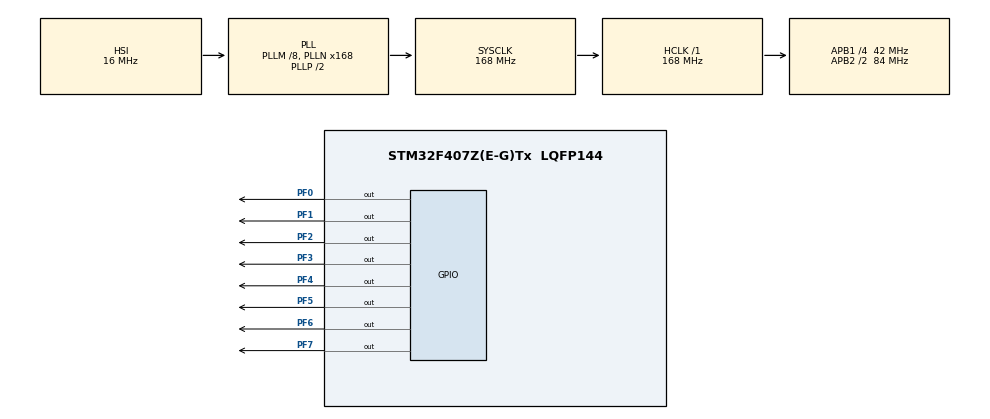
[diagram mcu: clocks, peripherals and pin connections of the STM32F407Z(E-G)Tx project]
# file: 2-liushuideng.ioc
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Mcu.Family=STM32F4
Mcu.Name=STM32F407Z(E-G)Tx
Mcu.Package=LQFP144
NVIC.PriorityGroup=NVIC_PRIORITYGROUP_4
PA13.Mode=Serial_Wire
PA13.Signal=SYS_JTMS-SWDIO
PA14.Mode=Serial_Wire
PA14.Signal=SYS_JTCK-SWCLK
PC14-OSC32_IN.Mode=LSE-External-Oscillator
PC14-OSC32_IN.Signal=RCC_OSC32_IN
PC15-OSC32_OUT.Mode=LSE-External-Oscillator
PC15-OSC32_OUT.Signal=RCC_OSC32_OUT
PF0.GPIO_ModeDefaultOutputPP=GPIO_MODE_OUTPUT_PP
PF0.GPIO_PuPd=GPIO_NOPULL
PF0.GPIO_Speed=GPIO_SPEED_FREQ_LOW
PF0.PinState=GPIO_PIN_SET
PF0.Signal=GPIO_Output
PF1.GPIO_ModeDefaultOutputPP=GPIO_MODE_OUTPUT_PP
PF1.GPIO_PuPd=GPIO_NOPULL
PF1.GPIO_Speed=GPIO_SPEED_FREQ_LOW
PF1.PinState=GPIO_PIN_SET
PF1.Signal=GPIO_Output
PF2.GPIO_ModeDefaultOutputPP=GPIO_MODE_OUTPUT_PP
PF2.GPIO_PuPd=GPIO_NOPULL
PF2.GPIO_Speed=GPIO_SPEED_FREQ_LOW
PF2.PinState=GPIO_PIN_SET
PF2.Signal=GPIO_Output
PF3.GPIO_ModeDefaultOutputPP=GPIO_MODE_OUTPUT_PP
PF3.GPIO_PuPd=GPIO_NOPULL
PF3.GPIO_Speed=GPIO_SPEED_FREQ_LOW
PF3.PinState=GPIO_PIN_SET
PF3.Signal=GPIO_Output
PF4.GPIO_ModeDefaultOutputPP=GPIO_MODE_OUTPUT_PP
PF4.GPIO_PuPd=GPIO_NOPULL
PF4.GPIO_Speed=GPIO_SPEED_FREQ_LOW
PF4.PinState=GPIO_PIN_SET
PF4.Signal=GPIO_Output
PF5.GPIO_ModeDefaultOutputPP=GPIO_MODE_OUTPUT_PP
PF5.GPIO_PuPd=GPIO_NOPULL
PF5.GPIO_Speed=GPIO_SPEED_FREQ_LOW
PF5.PinState=GPIO_PIN_SET
PF5.Signal=GPIO_Output
PF6.GPIO_ModeDefaultOutputPP=GPIO_MODE_OUTPUT_PP
PF6.GPIO_PuPd=GPIO_NOPULL
PF6.GPIO_Speed=GPIO_SPEED_FREQ_LOW
PF6.PinState=GPIO_PIN_SET
PF6.Signal=GPIO_Output
PF7.GPIO_ModeDefaultOutputPP=GPIO_MODE_OUTPUT_PP
PF7.GPIO_PuPd=GPIO_NOPULL
PF7.GPIO_Speed=GPIO_SPEED_FREQ_LOW
PF7.PinState=GPIO_PIN_SET
PF7.Signal=GPIO_Output
PH0-OSC_IN.Mode=HSE-External-Oscillator
PH0-OSC_IN.Signal=RCC_OSC_IN
PH1-OSC_OUT.Mode=HSE-External-Oscillator
PH1-OSC_OUT.Signal=RCC_OSC_OUT
ProjectManager.HeapSize=0x200
ProjectManager.StackSize=0x400
ProjectManager.TargetToolchain=MDK-ARM V5.32
RCC.48MHZClocksFreq_Value=84000000
RCC.AHBFreq_Value=168000000
RCC.APB1CLKDivider=RCC_HCLK_DIV4
RCC.APB1Freq_Value=42000000
RCC.APB1TimFreq_Value=84000000
RCC.APB2CLKDivider=RCC_HCLK_DIV2
RCC.APB2Freq_Value=84000000
RCC.APB2TimFreq_Value=168000000
RCC.CortexFreq_Value=168000000
RCC.HCLKFreq_Value=168000000
RCC.HSE_VALUE=8000000
RCC.HSI_VALUE=16000000
RCC.PLLM=8
RCC.PLLN=168
RCC.SYSCLKFreq_VALUE=168000000
RCC.SYSCLKSource=RCC_SYSCLKSOURCE_PLLCLK
RCC.VCOOutputFreq_Value=336000000
board=custom

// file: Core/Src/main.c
/* USER CODE BEGIN Header */
/**
  ******************************************************************************
  * @file           : main.c
  * @brief          : Main program body
  ******************************************************************************
  * @attention
  *
  * Copyright (c) 2026 STMicroelectronics.
  * All rights reserved.
  *
  * This software is licensed under terms that can be found in the LICENSE file
  * in the root directory of this software component.
  * If no LICENSE file comes with this software, it is provided AS-IS.
  *
  ******************************************************************************
  */
/* USER CODE END Header */
#include "main.h"
#include "gpio.h"

void SystemClock_Config(void);

int main(void)
{

  /* MCU Configuration--------------------------------------------------------*/

  /* Reset of all peripherals, Initializes the Flash interface and the Systick. */
  HAL_Init();

  /* Configure the system clock */
  SystemClock_Config();

  /* Initialize all configured peripherals */
  MX_GPIO_Init();

  /* Infinite loop */
  /* USER CODE BEGIN WHILE */
  while (1)
  {

	  // F0亮，其余灭
    HAL_GPIO_WritePin(GPIOF,GPIO_PIN_0, GPIO_PIN_RESET);
    HAL_GPIO_WritePin(GPIOF, GPIO_PIN_1 | GPIO_PIN_2 | GPIO_PIN_3 | GPIO_PIN_4 | GPIO_PIN_5 | GPIO_PIN_6 | GPIO_PIN_7, GPIO_PIN_SET);
    HAL_Delay(500); //延时500ms

    // F1亮，其余灭
    HAL_GPIO_WritePin(GPIOF, GPIO_PIN_1, GPIO_PIN_RESET);
    HAL_GPIO_WritePin(GPIOF, GPIO_PIN_0 | GPIO_PIN_2 | GPIO_PIN_3 | GPIO_PIN_4 | GPIO_PIN_5 | GPIO_PIN_6 | GPIO_PIN_7, GPIO_PIN_SET);
    HAL_Delay(500);

    // F2亮，其余灭
    HAL_GPIO_WritePin(GPIOF, GPIO_PIN_2, GPIO_PIN_RESET);
    HAL_GPIO_WritePin(GPIOF, GPIO_PIN_0 | GPIO_PIN_1 | GPIO_PIN_3 | GPIO_PIN_4 | GPIO_PIN_5 | GPIO_PIN_6 | GPIO_PIN_7, GPIO_PIN_SET);
    HAL_Delay(500);

    // F3亮，其余灭
    HAL_GPIO_WritePin(GPIOF, GPIO_PIN_3, GPIO_PIN_RESET);
    HAL_GPIO_WritePin(GPIOF, GPIO_PIN_0 | GPIO_PIN_1 | GPIO_PIN_2 | GPIO_PIN_4 | GPIO_PIN_5 | GPIO_PIN_6 | GPIO_PIN_7, GPIO_PIN_SET);
    HAL_Delay(500);

    // F4亮，其余灭
    HAL_GPIO_WritePin(GPIOF, GPIO_PIN_4, GPIO_PIN_RESET);
    HAL_GPIO_WritePin(GPIOF, GPIO_PIN_0 | GPIO_PIN_1 | GPIO_PIN_2 | GPIO_PIN_3 | GPIO_PIN_5 | GPIO_PIN_6 | GPIO_PIN_7, GPIO_PIN_SET);
    HAL_Delay(500);

    // F5亮，其余灭
    HAL_GPIO_WritePin(GPIOF, GPIO_PIN_5, GPIO_PIN_RESET);
    HAL_GPIO_WritePin(GPIOF, GPIO_PIN_0 | GPIO_PIN_1 | GPIO_PIN_2 | GPIO_PIN_3 | GPIO_PIN_4 | GPIO_PIN_6 | GPIO_PIN_7, GPIO_PIN_SET);
    HAL_Delay(500);

    // F6亮，其余灭
    HAL_GPIO_WritePin(GPIOF, GPIO_PIN_6, GPIO_PIN_RESET);
    HAL_GPIO_WritePin(GPIOF, GPIO_PIN_0 | GPIO_PIN_1 | GPIO_PIN_2 | GPIO_PIN_3 | GPIO_PIN_4 | GPIO_PIN_5 | GPIO_PIN_7, GPIO_PIN_SET);
    HAL_Delay(500);

    // F7亮，其余灭
    HAL_GPIO_WritePin(GPIOF, GPIO_PIN_7, GPIO_PIN_RESET);
    HAL_GPIO_WritePin(GPIOF, GPIO_PIN_0 | GPIO_PIN_1 | GPIO_PIN_2 | GPIO_PIN_3 | GPIO_PIN_4 | GPIO_PIN_5 | GPIO_PIN_6, GPIO_PIN_SET);
    HAL_Delay(500);
    /* USER CODE END WHILE */

  }
}

void SystemClock_Config(void)
{
  RCC_OscInitTypeDef RCC_OscInitStruct = {0};
  RCC_ClkInitTypeDef RCC_ClkInitStruct = {0};

  /** Configure the main internal regulator output voltage
  */
  __HAL_RCC_PWR_CLK_ENABLE();
  __HAL_PWR_VOLTAGESCALING_CONFIG(PWR_REGULATOR_VOLTAGE_SCALE1);

  /** Initializes the RCC Oscillators according to the specified parameters
  * in the RCC_OscInitTypeDef structure.
  */
  RCC_OscInitStruct.OscillatorType = RCC_OSCILLATORTYPE_HSI;
  RCC_OscInitStruct.HSIState = RCC_HSI_ON;
  RCC_OscInitStruct.HSICalibrationValue = RCC_HSICALIBRATION_DEFAULT;
  RCC_OscInitStruct.PLL.PLLState = RCC_PLL_ON;
  RCC_OscInitStruct.PLL.PLLSource = RCC_PLLSOURCE_HSI;
  RCC_OscInitStruct.PLL.PLLM = 8;
  RCC_OscInitStruct.PLL.PLLN = 168;
  RCC_OscInitStruct.PLL.PLLP = RCC_PLLP_DIV2;
  RCC_OscInitStruct.PLL.PLLQ = 4;
  if (HAL_RCC_OscConfig(&RCC_OscInitStruct) != HAL_OK)
  {
    Error_Handler();
  }

  /** Initializes the CPU, AHB and APB buses clocks
  */
  RCC_ClkInitStruct.ClockType = RCC_CLOCKTYPE_HCLK|RCC_CLOCKTYPE_SYSCLK
                              |RCC_CLOCKTYPE_PCLK1|RCC_CLOCKTYPE_PCLK2;
  RCC_ClkInitStruct.SYSCLKSource = RCC_SYSCLKSOURCE_PLLCLK;
  RCC_ClkInitStruct.AHBCLKDivider = RCC_SYSCLK_DIV1;
  RCC_ClkInitStruct.APB1CLKDivider = RCC_HCLK_DIV4;
  RCC_ClkInitStruct.APB2CLKDivider = RCC_HCLK_DIV2;

  if (HAL_RCC_ClockConfig(&RCC_ClkInitStruct, FLASH_LATENCY_5) != HAL_OK)
  {
    Error_Handler();
  }
}

void Error_Handler(void)
{
  __disable_irq();
  while (1)
  {
  }
}
